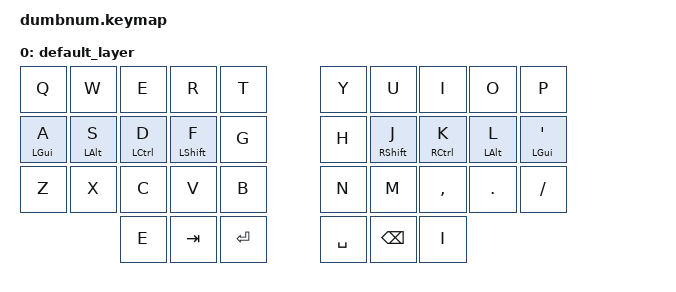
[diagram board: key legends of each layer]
/*
 * Copyright (c) 2020 The ZMK Contributors
 *
 * SPDX-License-Identifier: MIT
 */

#undef ZMK_BEHAVIORS_KEEP_ALL

#include <behaviors.dtsi>
#include <dt-bindings/zmk/keys.h>
#include <dt-bindings/zmk/bt.h>

#define NAV_L 1
#define OTHER_L 2
#define NUM_L 3
#define SYM_L 4

// Using layer taps on thumbs, having quick tap as well helps w/ repeating space/backspace
&lt { quick-tap-ms = <200>; };

/ {
    behaviors {
        hm: homerow_mods {
            compatible = "zmk,behavior-hold-tap";
            #binding-cells = <2>;
            tapping-term-ms = <200>;
            flavor = "tap-preferred";
            bindings = <&kp>, <&kp>;
        };
    };

    keymap {
        compatible = "zmk,keymap";

        default_layer {
            bindings = <
                &kp Q      &kp W      &kp E       &kp R          &kp T         &kp Y            &kp U          &kp I       &kp O      &kp P
                &hm LGUI A &hm LALT S &hm LCTRL D &hm LSHFT F    &kp G         &kp H            &hm RSHFT J    &hm RCTRL K &hm LALT L &hm LGUI SQT
                &kp Z      &kp X      &kp C       &kp V          &kp B         &kp N            &kp M          &kp COMMA   &kp DOT    &kp FSLH
                                      &kp E       &kp TAB  &kp ENTER     &kp SPACE  &kp BSPC &kp I
            >;
        };
    };
};
